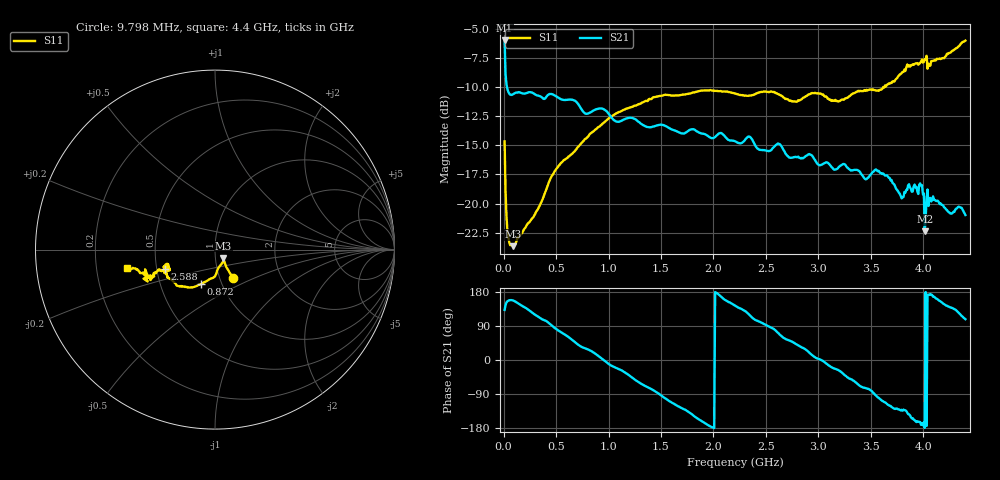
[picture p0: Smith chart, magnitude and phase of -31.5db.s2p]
# HZ S RI R 50
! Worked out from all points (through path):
!   500 points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, 9.798 MHz to 4.4 GHz, reference 50 ohm
!   highest |S21| = -6.02 dB at 9.798 MHz (marker M1); lowest = -22.4 dB at 4.013 GHz (marker M2)
!   lowest |S11| = -23.6 dB at 88.98 MHz (marker M3), VSWR 1.14, Z = 54.6 - j5.11 ohm
!   |S11| at or under -10 dB: start of sweep to 3.629 GHz
!   S12 and S22 are empty: the file has one direction only
!   S11 on the Smith chart (normalised r, x): 9.798 MHz: 1.15, -0.37; 872 MHz: 0.80, -0.32; 2.588 GHz: 0.55, -0.13; 4.4 GHz: 0.34, -0.09
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9798000  0.0986 -0.1564  -0.336 0.3703  0 0  0 0
4.499e7  0.049 -0.0521  -0.2764 0.1196  0 0  0 0
8.898e7  0.0464 -0.0466  -0.2711 0.1135  0 0  0 0
2.73738e8  0.0376 -0.078  -0.1699 0.2457  0 0  0 0
4.49698e8  0.0086 -0.1285  -0.0159 0.2946  0 0  0 0
7.4883e8  -0.0489 -0.1764  0.2087 0.1395  0 0  0 0
8.72002e8  -0.0775 -0.1923  0.2415 0.074  0 0  0 0
1.241518e9  -0.1579 -0.2093  0.1485 -0.1772  0 0  0 0
1.479064e9  -0.2053 -0.203  0.00371 -0.2173  0 0  0 0
1.830984e9  -0.2544 -0.1612  -0.1799 -0.0991  0 0  0 0
2.209298e9  -0.2701 -0.1205  -0.1473 0.1111  0 0  0 0
2.358864e9  -0.2741 -0.0965  -0.0777 0.1742  0 0  0 0
2.587612e9  -0.2786 -0.1067  0.0342 0.1737  0 0  0 0
2.939532e9  -0.2813 -0.0982  0.1563 0.0358  0 0  0 0
3.185876e9  -0.2531 -0.1056  0.1274 -0.0625  0 0  0 0
3.370634e9  -0.2794 -0.1141  0.0637 -0.124  0 0  0 0
3.669766e9  -0.307 -0.1122  -0.0625 -0.113  0 0  0 0
3.792938e9  -0.3378 -0.1318  -0.0698 -0.0789  0 0  0 0
3.977696e9  -0.3754 -0.1555  -0.118 -0.0183  0 0  0 0
4.012888e9  -0.3854 -0.1575  -0.076 -0.0011  0 0  0 0
4.04808e9  -0.36 -0.1694  -0.0968 0.0135  0 0  0 0
4.4e9  -0.4885 -0.1032  -0.0271 0.0851  0 0  0 0
